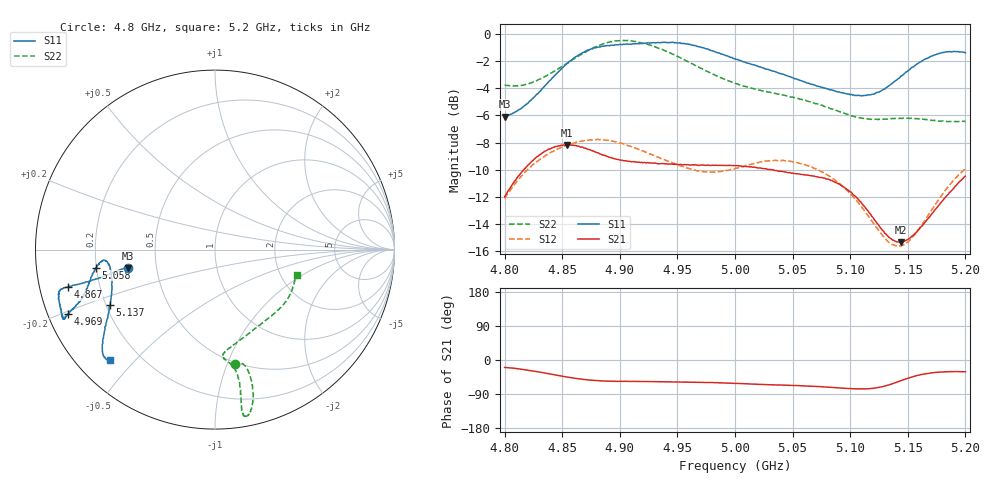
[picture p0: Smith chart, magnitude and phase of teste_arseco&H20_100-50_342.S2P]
! Network Analyzer HP8722D
! Hewlett-Packard
! Data name: Linha & Wilkinson
! Saver's name: Rodrigo Anjos
! Comments: Teste da utilização de aquisição
! continua pelo VNA HP8722D
! Time and date: 6/5/2025 15:25
!  Frequency  S11  S21  S12  S22
# HZ  S  MA R 50
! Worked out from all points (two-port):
!   401 points, 4.8 GHz to 5.2 GHz, reference 50 ohm
!   highest |S21| = -8.17 dB at 4.854 GHz (marker M1); lowest = -15.3 dB at 5.144 GHz (marker M2)
!   |S21| within 3 dB of the highest: 4.806 GHz to 5.093 GHz (286.6 MHz wide, 5.79 % of centre); 5.191796 GHz to end of sweep
!   lowest |S11| = -6.1 dB at 4.8 GHz (marker M3), VSWR 2.97, Z = 17 - j4.6 ohm
!   |S11| at or under -10 dB: nowhere
!   |S22| runs from -6.5 to -0.5 dB; largest |S21 - S12| = 0.62
!   S11 on the Smith chart (normalised r, x): 4.8 GHz: 0.34, -0.09; 4.867 GHz: 0.08, -0.12; 4.969 GHz: 0.06, -0.21; 5.058 GHz: 0.20, -0.07; 5.137 GHz: 0.22, -0.24; 5.2 GHz: 0.09, -0.43
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4.8e9  0.4964 -168.1  0.2516 -19.5  0.2481 -140.7  0.6481 -80.3
4.828e9  0.5998 -167.1  0.3535 -30.6  0.3387 -144.8  0.6729 -75.4
4.854e9  0.7763 -165.7  0.3904 -44.9  0.3891 -149.7  0.7786 -74.7
4.867e9  0.848 -165.7  0.3837 -50.6  0.4032 -151.9  0.842 -75.4
4.879e9  0.8885 -165.4  0.3673 -54.3  0.4078 -154.0  0.8949 -76.5
4.9e9  0.915 -162.6  0.3435 -56.1  0.3966 -156.4  0.9433 -79.1
4.934e9  0.9279 -156.4  0.3327 -57.4  0.3514 -155.5  0.8831 -80.5
4.953e9  0.9236 -155.4  0.3309 -58.0  0.3263 -151.9  0.8141 -79.9
4.969e9  0.8963 -156.3  0.3282 -58.9  0.3128 -147.2  0.7522 -79.6
5e9  0.8102 -159.0  0.3277 -61.8  0.3197 -137.2  0.6573 -81.3
5.035e9  0.7258 -165.1  0.3143 -65.8  0.3428 -134.3  0.6038 -85.6
5.058e9  0.6719 -171.4  0.3038 -68.1  0.3321 -136.0  0.5739 -84.4
5.067e9  0.6519 -173.1  0.3007 -69.0  0.3236 -136.6  0.5597 -82.6
5.083e9  0.6219 -174.5  0.2892 -72.2  0.2977 -138.2  0.5306 -76.7
5.102e9  0.5956 -171.8  0.2578 -76.0  0.2537 -138.7  0.4983 -65.9
5.116e9  0.5969 -165.4  0.2213 -75.9  0.2131 -135.5  0.4857 -55.8
5.134e9  0.6454 -154.2  0.1782 -65.4  0.1704 -120.8  0.4868 -43.2
5.137e9  0.6599 -152.2  0.1744 -62.3  0.1679 -117.0  0.4885 -41.5
5.144e9  0.6985 -148.6  0.171 -54.6  0.1658 -107.5  0.4888 -37.4
5.154e9  0.7538 -144.5  0.1809 -44.4  0.1791 -95.0  0.4886 -32.3
5.173e9  0.8344 -138.8  0.2237 -33.2  0.233 -80.8  0.4809 -24.2
5.2e9  0.8517 -133.6  0.2998 -31.2  0.3186 -76.9  0.4763 -17.5
